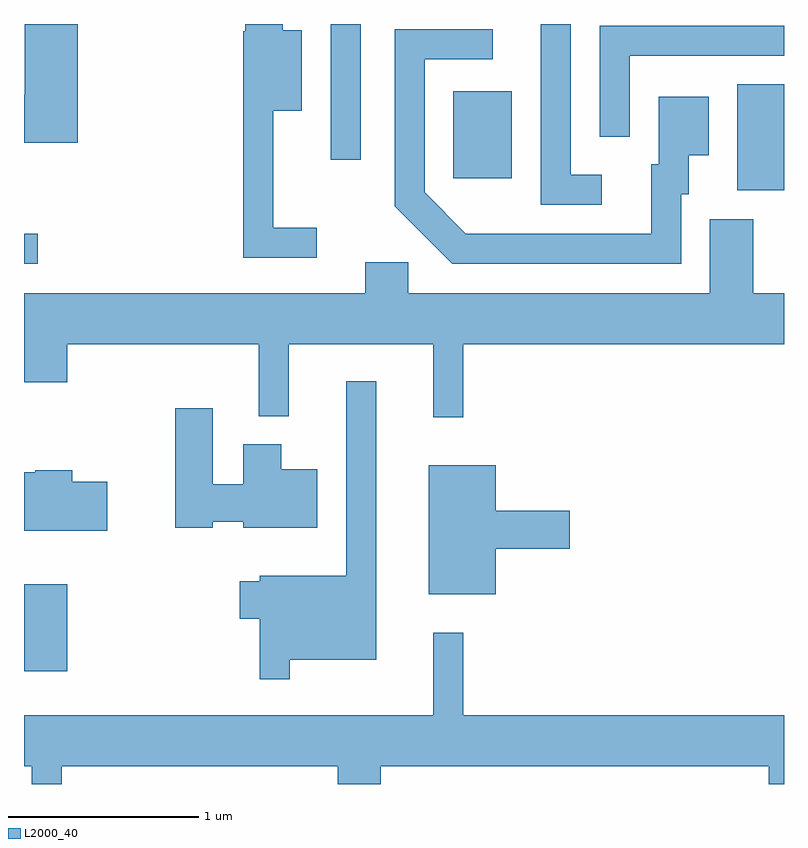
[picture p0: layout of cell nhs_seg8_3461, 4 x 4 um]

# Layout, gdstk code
import gdstk
lib = gdstk.Library(unit=1e-6, precision=1e-09)
def R(c, l, rs):  # rectangles x0, y0, x1, y1
    for r in rs: c.add(gdstk.rectangle(r[:2], r[2:], *l))
def P(c, l, *ps):  # polygons
    for p in ps: c.add(gdstk.Polygon(p, *l))
L2000_40 = (2000, 40)

nhs_seg8_3461 = lib.new_cell('nhs_seg8_3461')
R(nhs_seg8_3461, L2000_40, [(289.611,1816.936,289.839,1817.394), (289.611,1819.081,289.683,1819.239), (293.366,1819.466,293.611,1820.024), (291.871,1819.531,292.179,1819.989), (291.226,1819.628,291.384,1820.342)])
P(nhs_seg8_3461, L2000_40, [(289.894,1820.342),(289.616,1820.342),(289.616,1819.969),(289.611,1819.969),(289.611,1819.716),(289.894,1819.716)],
  [(292.653,1819.549),(292.489,1819.549),(292.489,1820.342),(292.331,1820.342),(292.331,1819.391),(292.653,1819.391)],
  [(291.153,1819.269),(290.924,1819.269),(290.924,1819.886),(291.074,1819.886),(291.074,1820.309),(290.974,1820.309),(290.974,1820.342),(290.776,1820.342),(290.776,1820.305),(290.766,1820.305),(290.766,1819.111),(291.153,1819.111)],
  [(292.799,1820.176),(293.611,1820.176),(293.611,1820.334),(292.641,1820.334),(292.641,1819.748),(292.799,1819.748)],
  [(293.069,1819.446),(293.109,1819.446),(293.109,1819.651),(293.214,1819.651),(293.214,1819.959),(292.951,1819.959),(292.951,1819.604),(292.911,1819.604),(292.911,1819.239),(291.937,1819.239),(291.719,1819.457),(291.719,1820.156),(292.078,1820.156),(292.078,1820.314),(291.561,1820.314),(291.561,1819.384),(291.864,1819.081),(293.069,1819.081)],
  [(291.924,1818.656),(293.611,1818.656),(293.611,1818.924),(293.449,1818.924),(293.449,1819.314),(293.221,1819.314),(293.221,1818.924),(291.634,1818.924),(291.634,1819.089),(291.406,1819.089),(291.406,1818.924),(289.611,1818.924),(289.611,1818.456),(289.839,1818.456),(289.839,1818.656),(290.846,1818.656),(290.846,1818.278),(291.004,1818.278),(291.004,1818.656),(291.766,1818.656),(291.766,1818.273),(291.924,1818.273)],
  [(291.009,1816.996),(291.464,1816.996),(291.464,1818.463),(291.306,1818.463),(291.306,1817.439),(290.851,1817.439),(290.851,1817.409),(290.746,1817.409),(290.746,1817.211),(290.851,1817.211),(290.851,1816.893),(291.009,1816.893)],
  [(290.604,1817.721),(290.766,1817.721),(290.766,1817.691),(291.154,1817.691),(291.154,1817.999),(290.964,1817.999),(290.964,1818.129),(290.766,1818.129),(290.766,1817.919),(290.604,1817.919),(290.604,1818.319),(290.406,1818.319),(290.406,1817.691),(290.604,1817.691)],
  [(292.094,1817.581),(292.484,1817.581),(292.484,1817.779),(292.094,1817.779),(292.094,1818.019),(291.741,1818.019),(291.741,1817.341),(292.094,1817.341)],
  [(290.049,1817.934),(289.864,1817.934),(289.864,1817.994),(289.67,1817.994),(289.67,1817.984),(289.611,1817.984),(289.611,1817.676),(290.049,1817.676)],
  [(289.809,1816.436),(291.261,1816.436),(291.261,1816.342),(291.489,1816.342),(291.489,1816.436),(293.531,1816.436),(293.531,1816.342),(293.611,1816.342),(293.611,1816.704),(291.924,1816.704),(291.924,1817.138),(291.766,1817.138),(291.766,1816.704),(289.611,1816.704),(289.611,1816.436),(289.651,1816.436),(289.651,1816.342),(289.809,1816.342)])

lib.write_gds('nhs_seg8_3461.gds')
